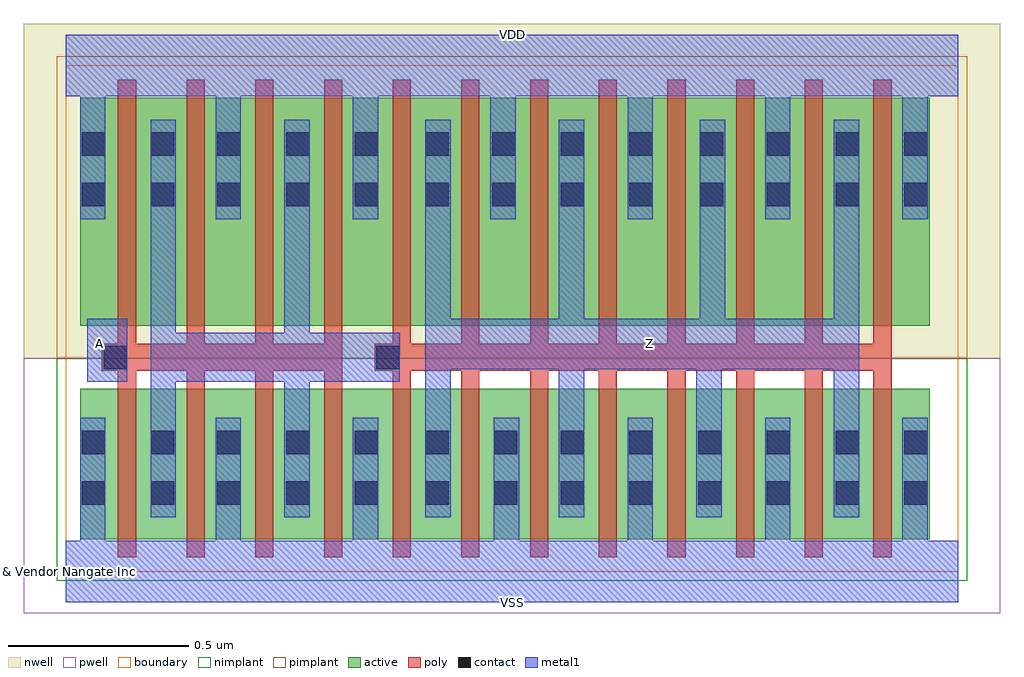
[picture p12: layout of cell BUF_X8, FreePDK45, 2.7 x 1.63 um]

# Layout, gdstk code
import gdstk
lib = gdstk.Library(unit=1e-6, precision=1e-10)
def R(c, l, rs):  # rectangles x0, y0, x1, y1
    for r in rs: c.add(gdstk.rectangle(r[:2], r[2:], *l))
def A(c, l, x, y, w, h, nx, ny, dx, dy):  # array of equal rectangles
    R(c, l, [(x+i*dx, y+j*dy, x+i*dx+w, y+j*dy+h) for i in range(nx) for j in range(ny)])
def P(c, l, *ps):  # polygons
    for p in ps: c.add(gdstk.Polygon(p, *l))
active = (1, 0)
pwell = (2, 0)
nwell = (3, 0)
nimplant = (4, 0)
pimplant = (5, 0)
poly = (9, 0)
contact = (10, 0)
metal1 = (11, 0)
boundary = (235, 0)

buf_x8 = lib.new_cell('BUF_X8')
R(buf_x8, active, [(0.04,0.09,2.39,0.505), (0.04,0.68,2.39,1.31)])
R(buf_x8, pwell, [(-0.115,-0.115,2.585,0.59)])
R(buf_x8, nwell, [(-0.115,0.59,2.585,1.515)])
R(buf_x8, nimplant, [(-0.025,-0.025,2.495,0.59)])
R(buf_x8, pimplant, [(-0.025,0.59,2.495,1.425)])
P(buf_x8, poly, [(0.145,0.04),(0.145,0.555),(0.1,0.555),(0.1,0.63),(0.145,0.63),(0.145,1.36),(0.195,1.36),(0.195,0.63),(0.335,0.63),(0.335,1.36),(0.385,1.36),(0.385,0.63),(0.525,0.63),(0.525,1.36),(0.575,1.36),(0.575,0.63),(0.715,0.63),(0.715,1.36),(0.765,1.36),(0.765,0.04),(0.715,0.04),(0.715,0.555),(0.575,0.555),(0.575,0.04),(0.525,0.04),(0.525,0.555),(0.385,0.555),(0.385,0.04),(0.335,0.04),(0.335,0.555),(0.195,0.555),(0.195,0.04)],
  [(0.905,0.04),(0.905,0.555),(0.855,0.555),(0.855,0.63),(0.905,0.63),(0.905,1.36),(0.955,1.36),(0.955,0.63),(1.095,0.63),(1.095,1.36),(1.145,1.36),(1.145,0.63),(1.285,0.63),(1.285,1.36),(1.335,1.36),(1.335,0.63),(1.475,0.63),(1.475,1.36),(1.525,1.36),(1.525,0.63),(1.665,0.63),(1.665,1.36),(1.715,1.36),(1.715,0.63),(1.855,0.63),(1.855,1.36),(1.905,1.36),(1.905,0.63),(2.045,0.63),(2.045,1.36),(2.095,1.36),(2.095,0.63),(2.235,0.63),(2.235,1.36),(2.285,1.36),(2.285,0.04),(2.235,0.04),(2.235,0.555),(2.095,0.555),(2.095,0.04),(2.045,0.04),(2.045,0.555),(1.905,0.555),(1.905,0.04),(1.855,0.04),(1.855,0.555),(1.715,0.555),(1.715,0.04),(1.665,0.04),(1.665,0.555),(1.525,0.555),(1.525,0.04),(1.475,0.04),(1.475,0.555),(1.335,0.555),(1.335,0.04),(1.285,0.04),(1.285,0.555),(1.145,0.555),(1.145,0.04),(1.095,0.04),(1.095,0.555),(0.955,0.555),(0.955,0.04)])
A(buf_x8, contact, 0.42, 0.185, 0.065, 0.065, 3, 2, 0.19, 0.14)
A(buf_x8, contact, 1.37, 0.185, 0.065, 0.065, 6, 2, 0.19, 0.14)
A(buf_x8, contact, 0.42, 1.01, 0.065, 0.065, 3, 2, 0.19, 0.14)
A(buf_x8, contact, 1.18, 1.01, 0.065, 0.065, 3, 2, 0.19, 0.14)
A(buf_x8, contact, 1.94, 1.01, 0.065, 0.065, 3, 2, 0.19, 0.14)
R(buf_x8, contact, [(0.045,0.185,0.11,0.25), (0.235,0.185,0.3,0.25), (0.995,0.185,1.06,0.25), (1.185,0.185,1.25,0.25), (0.045,0.325,0.11,0.39), (0.235,0.325,0.3,0.39), (0.995,0.325,1.06,0.39), (1.185,0.325,1.25,0.39), (0.105,0.56,0.17,0.625), (0.86,0.56,0.925,0.625), (0.045,1.01,0.11,1.075), (0.235,1.01,0.3,1.075), (0.995,1.01,1.06,1.075), (1.755,1.01,1.82,1.075), (0.045,1.15,0.11,1.215), (0.235,1.15,0.3,1.215), (0.995,1.15,1.06,1.215), (1.755,1.15,1.82,1.215)])
R(buf_x8, metal1, [(0.06,0.525,0.17,0.7)])
P(buf_x8, metal1, [(0.235,0.15),(0.235,1.25),(0.305,1.25),(0.305,0.66),(0.605,0.66),(0.605,1.25),(0.675,1.25),(0.675,0.66),(0.925,0.66),(0.925,0.525),(0.675,0.525),(0.675,0.15),(0.605,0.15),(0.605,0.525),(0.305,0.525),(0.305,0.15)],
  [(0.995,0.15),(0.995,1.25),(1.065,1.25),(1.065,0.7),(1.365,0.7),(1.365,1.25),(1.435,1.25),(1.435,0.7),(1.755,0.7),(1.755,1.25),(1.825,1.25),(1.825,0.7),(2.125,0.7),(2.125,1.25),(2.195,1.25),(2.195,0.15),(2.125,0.15),(2.125,0.56),(1.815,0.56),(1.815,0.15),(1.745,0.15),(1.745,0.56),(1.435,0.56),(1.435,0.15),(1.365,0.15),(1.365,0.56),(1.065,0.56),(1.065,0.15)],
  [(0,-0.085),(0,0.085),(0.04,0.085),(0.04,0.425),(0.11,0.425),(0.11,0.085),(0.415,0.085),(0.415,0.425),(0.485,0.425),(0.485,0.085),(0.795,0.085),(0.795,0.425),(0.865,0.425),(0.865,0.085),(1.185,0.085),(1.185,0.425),(1.255,0.425),(1.255,0.085),(1.555,0.085),(1.555,0.425),(1.625,0.425),(1.625,0.085),(1.935,0.085),(1.935,0.425),(2.005,0.425),(2.005,0.085),(2.315,0.085),(2.315,0.425),(2.385,0.425),(2.385,0.085),(2.47,0.085),(2.47,-0.085)],
  [(0.04,0.975),(0.04,1.315),(0,1.315),(0,1.485),(2.47,1.485),(2.47,1.315),(2.385,1.315),(2.385,0.975),(2.315,0.975),(2.315,1.315),(2.005,1.315),(2.005,0.975),(1.935,0.975),(1.935,1.315),(1.625,1.315),(1.625,0.975),(1.555,0.975),(1.555,1.315),(1.245,1.315),(1.245,0.975),(1.175,0.975),(1.175,1.315),(0.865,1.315),(0.865,0.975),(0.795,0.975),(0.795,1.315),(0.485,1.315),(0.485,0.975),(0.415,0.975),(0.415,1.315),(0.11,1.315),(0.11,0.975)])
R(buf_x8, boundary, [(0,0,2.47,1.4)])
buf_x8.add(gdstk.Label('A', (0.095,0.63), layer=11, texttype=0))
buf_x8.add(gdstk.Label('VDD', (1.235,1.485), layer=11, texttype=0))
buf_x8.add(gdstk.Label('VSS', (1.235,-0.085), layer=11, texttype=0))
buf_x8.add(gdstk.Label('Z', (1.615,0.63), layer=11, texttype=0))
buf_x8.add(gdstk.Label('& Vendor Nangate Inc', (0,0), layer=63, texttype=63))
buf_x8.add(gdstk.Label('& Product Open Cell Library', (0,0), layer=63, texttype=63))
buf_x8.add(gdstk.Label('& Version 2010_12', (0,0), layer=63, texttype=63))
buf_x8.add(gdstk.Label('& Instance BUF_X8', (0,0), layer=63, texttype=63))

lib.write_gds('BUF_X8.gds')
